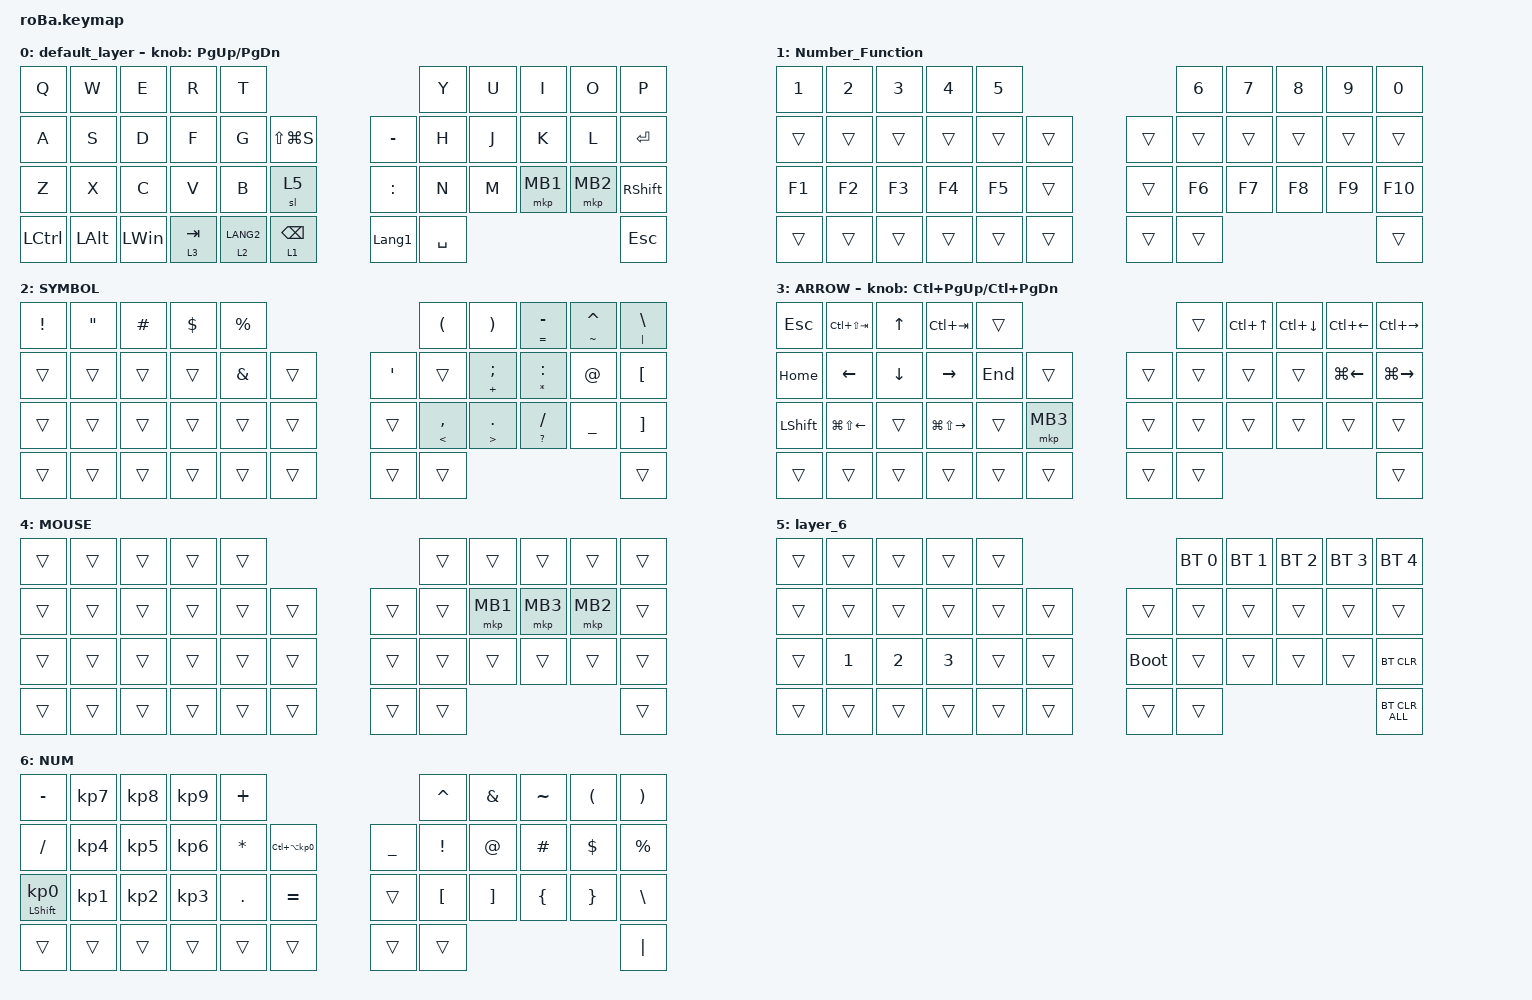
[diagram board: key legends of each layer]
#include <behaviors.dtsi>
#include <dt-bindings/zmk/bt.h>
#include <dt-bindings/zmk/keys.h>
#include <dt-bindings/zmk/pointing.h>

#define MOUSE 4
#define SCROLL 5
#define NUM 6

&mt {
    flavor = "balanced";
    quick-tap-ms = <0>;
};

/ {
    combos { compatible = "zmk,combos"; };

    macros {
        to_layer_0: to_layer_0 {
            compatible = "zmk,behavior-macro-one-param";
            #binding-cells = <1>;
            bindings = <&to 0 &macro_param_1to1 &kp MACRO_PLACEHOLDER>;
            label = "TO_LAYER_0";
        };
    };

    behaviors {
        lt_to_layer_0: lt_to_layer_0 {
            compatible = "zmk,behavior-hold-tap";
            label = "LAYER_TAP_TO_0";
            bindings = <&mo>, <&to_layer_0>;

            #binding-cells = <2>;
            tapping-term-ms = <200>;
        };
    };

    keymap {
        compatible = "zmk,keymap";

        default_layer {
            bindings = <
&kp Q      &kp W         &kp E         &kp R                 &kp T                                                        &kp Y      &kp U  &kp I     &kp O     &kp P
&kp A      &kp S         &kp D         &kp F                 &kp G        &kp LS(LG(S))                   &kp MINUS       &kp H      &kp J  &kp K     &kp L     &kp RETURN
&kp Z      &kp X         &kp C         &kp V                 &kp B        &sl 5                           &kp COLON       &kp N      &kp M  &mkp MB1  &mkp MB2  &kp RIGHT_SHIFT
&kp LCTRL  &kp LEFT_ALT  &kp LEFT_WIN  &lt_to_layer_0 3 TAB  &lt 2 LANG2  &lt_to_layer_0 1 BACKSPACE      &kp LANGUAGE_1  &kp SPACE                             &kp ESCAPE
            >;

            sensor-bindings = <&inc_dec_kp PAGE_UP PAGE_DOWN>;
        };

        Number_Function {
            bindings = <
&kp NUMBER_1  &kp NUMBER_2  &kp NUMBER_3  &kp NUMBER_4  &kp N5                      &kp NUMBER_6  &kp N7  &kp N8  &kp N9  &kp N0
&trans        &trans        &trans        &trans        &trans  &trans      &trans  &trans        &trans  &trans  &trans  &trans
&kp F1        &kp F2        &kp F3        &kp F4        &kp F5  &trans      &trans  &kp F6        &kp F7  &kp F8  &kp F9  &kp F10
&trans        &trans        &trans        &trans        &trans  &trans      &trans  &trans                                &trans
            >;
        };

        SYMBOL {
            bindings = <
&kp EXCLAMATION  &kp DOUBLE_QUOTES  &kp HASH  &kp DOLLAR  &kp PERCENT                         &kp LEFT_PARENTHESIS  &kp RIGHT_PARENTHESIS    &mt EQUAL MINUS     &mt TILDE CARET  &mt PIPE BACKSLASH
&trans           &trans             &trans    &trans      &kp AMPERSAND  &trans      &kp SQT  &trans                &mt PLUS SEMICOLON       &mt ASTERISK COLON  &kp AT_SIGN      &kp LEFT_BRACKET
&trans           &trans             &trans    &trans      &trans         &trans      &trans   &mt LESS_THAN COMMA   &mt GREATER_THAN PERIOD  &mt QUESTION SLASH  &kp UNDERSCORE   &kp RIGHT_BRACKET
&trans           &trans             &trans    &trans      &trans         &trans      &trans   &trans                                                                              &trans
            >;
        };

        ARROW {
            bindings = <
&kp ESCAPE      &kp LC(LS(TAB))         &kp UP_ARROW    &kp LC(TAB)              &trans                         &trans  &kp LC(UP)  &kp LC(DOWN)  &kp LC(LEFT)  &kp LC(RIGHT)
&kp HOME        &kp LEFT_ARROW          &kp DOWN_ARROW  &kp RIGHT_ARROW          &kp END  &trans        &trans  &trans  &trans      &trans        &kp LG(LEFT)  &kp LG(RIGHT)
&kp LEFT_SHIFT  &kp LG(LS(LEFT_ARROW))  &trans          &kp LG(LS(RIGHT_ARROW))  &trans   &mkp MB3      &trans  &trans  &trans      &trans        &trans        &trans
&trans          &trans                  &trans          &trans                   &trans   &trans        &trans  &trans                                          &trans
            >;

            sensor-bindings = <&inc_dec_kp LC(PAGE_UP) LC(PAGE_DOWN)>;
        };

        MOUSE {
            bindings = <
&trans  &trans  &trans  &trans  &trans                      &trans  &trans    &trans    &trans    &trans
&trans  &trans  &trans  &trans  &trans  &trans      &trans  &trans  &mkp MB1  &mkp MB3  &mkp MB2  &trans
&trans  &trans  &trans  &trans  &trans  &trans      &trans  &trans  &trans    &trans    &trans    &trans
&trans  &trans  &trans  &trans  &trans  &trans      &trans  &trans                                &trans
            >;
        };

        layer_6 {
            bindings = <
&trans  &trans        &trans        &trans        &trans                           &bt BT_SEL 0  &bt BT_SEL 1  &bt BT_SEL 2  &bt BT_SEL 3  &bt BT_SEL 4
&trans  &trans        &trans        &trans        &trans  &trans      &trans       &trans        &trans        &trans        &trans        &trans
&trans  &kp NUMBER_1  &kp NUMBER_2  &kp NUMBER_3  &trans  &trans      &bootloader  &trans        &trans        &trans        &trans        &bt BT_CLR
&trans  &trans        &trans        &trans        &trans  &trans      &trans       &trans                                                  &bt BT_CLR_ALL
            >;
        };

        NUM {
            bindings = <
&kp MINUS                   &kp KP_NUMBER_7  &kp KP_NUMBER_8  &kp KP_NUMBER_9  &kp PLUS                                                   &kp CARET         &kp AMPERSAND      &kp TILDE       &kp LEFT_PARENTHESIS  &kp RIGHT_PARENTHESIS
&kp SLASH                   &kp KP_NUMBER_4  &kp KP_NUMBER_5  &kp KP_NUMBER_6  &kp ASTERISK  &kp LC(LA(KP_NUMBER_0))      &kp UNDERSCORE  &kp EXCLAMATION   &kp AT_SIGN        &kp HASH        &kp DOLLAR            &kp PERCENT
&mt LEFT_SHIFT KP_NUMBER_0  &kp KP_NUMBER_1  &kp KP_NUMBER_2  &kp KP_NUMBER_3  &kp PERIOD    &kp EQUAL                    &trans          &kp LEFT_BRACKET  &kp RIGHT_BRACKET  &kp LEFT_BRACE  &kp RIGHT_BRACE       &kp BACKSLASH
&trans                      &trans           &trans           &trans           &trans        &trans                       &trans          &trans                                                                     &kp PIPE
            >;
        };
    };
};
